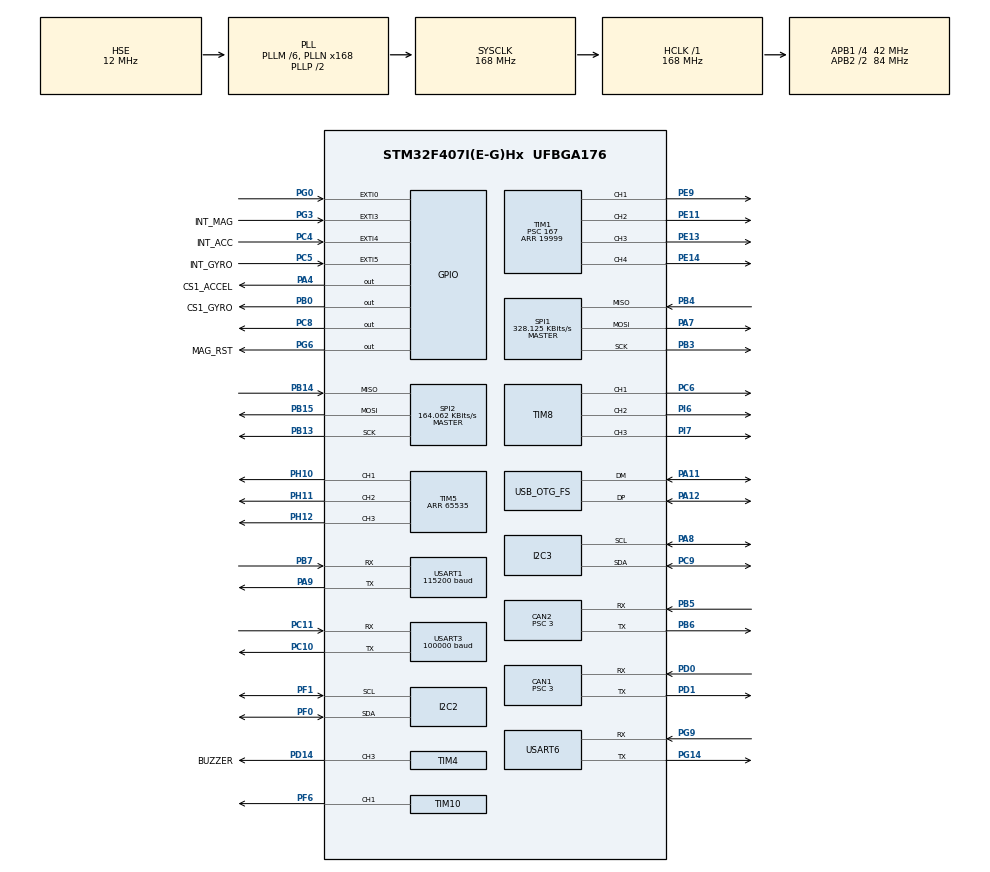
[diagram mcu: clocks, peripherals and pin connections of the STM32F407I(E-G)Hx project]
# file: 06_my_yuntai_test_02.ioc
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CAN1.BS1=CAN_BS1_10TQ
CAN1.BS2=CAN_BS2_3TQ
CAN1.CalculateBaudRate=1000000
CAN1.CalculateTimeBit=1000
CAN1.CalculateTimeQuantum=71.42857142857143
CAN1.Prescaler=3
CAN2.BS1=CAN_BS1_10TQ
CAN2.BS2=CAN_BS2_3TQ
CAN2.CalculateBaudRate=1000000
CAN2.CalculateTimeBit=1000
CAN2.CalculateTimeQuantum=71.42857142857143
CAN2.Prescaler=3
Dma.I2C2_RX.0.Direction=DMA_PERIPH_TO_MEMORY
Dma.I2C2_RX.0.FIFOMode=DMA_FIFOMODE_DISABLE
Dma.I2C2_RX.0.Instance=DMA1_Stream2
Dma.I2C2_RX.0.MemDataAlignment=DMA_MDATAALIGN_BYTE
Dma.I2C2_RX.0.MemInc=DMA_MINC_ENABLE
Dma.I2C2_RX.0.Mode=DMA_NORMAL
Dma.I2C2_RX.0.PeriphDataAlignment=DMA_PDATAALIGN_BYTE
Dma.I2C2_RX.0.PeriphInc=DMA_PINC_DISABLE
Dma.I2C2_RX.0.Priority=DMA_PRIORITY_LOW
Dma.I2C2_TX.1.Direction=DMA_MEMORY_TO_PERIPH
Dma.I2C2_TX.1.FIFOMode=DMA_FIFOMODE_DISABLE
Dma.I2C2_TX.1.Instance=DMA1_Stream7
Dma.I2C2_TX.1.MemDataAlignment=DMA_MDATAALIGN_BYTE
Dma.I2C2_TX.1.MemInc=DMA_MINC_ENABLE
Dma.I2C2_TX.1.Mode=DMA_NORMAL
Dma.I2C2_TX.1.PeriphDataAlignment=DMA_PDATAALIGN_BYTE
Dma.I2C2_TX.1.PeriphInc=DMA_PINC_DISABLE
Dma.I2C2_TX.1.Priority=DMA_PRIORITY_LOW
Dma.Request0=I2C2_RX
Dma.Request1=I2C2_TX
Dma.Request10=USART1_RX
Dma.Request2=SPI1_RX
Dma.Request3=SPI1_TX
Dma.Request4=USART3_RX
Dma.Request5=SPI2_RX
Dma.Request6=SPI2_TX
Dma.Request7=USART6_RX
Dma.Request8=USART6_TX
Dma.Request9=USART1_TX
Dma.SPI1_RX.2.Direction=DMA_PERIPH_TO_MEMORY
Dma.SPI1_RX.2.FIFOMode=DMA_FIFOMODE_ENABLE
Dma.SPI1_RX.2.FIFOThreshold=DMA_FIFO_THRESHOLD_FULL
Dma.SPI1_RX.2.Instance=DMA2_Stream0
Dma.SPI1_RX.2.MemBurst=DMA_MBURST_SINGLE
Dma.SPI1_RX.2.MemDataAlignment=DMA_MDATAALIGN_BYTE
Dma.SPI1_RX.2.MemInc=DMA_MINC_ENABLE
Dma.SPI1_RX.2.Mode=DMA_NORMAL
Dma.SPI1_RX.2.PeriphBurst=DMA_PBURST_SINGLE
Dma.SPI1_RX.2.PeriphDataAlignment=DMA_PDATAALIGN_BYTE
Dma.SPI1_RX.2.PeriphInc=DMA_PINC_DISABLE
Dma.SPI1_RX.2.Priority=DMA_PRIORITY_VERY_HIGH
Dma.SPI1_TX.3.Direction=DMA_MEMORY_TO_PERIPH
Dma.SPI1_TX.3.FIFOMode=DMA_FIFOMODE_DISABLE
Dma.SPI1_TX.3.Instance=DMA2_Stream3
Dma.SPI1_TX.3.MemDataAlignment=DMA_MDATAALIGN_BYTE
Dma.SPI1_TX.3.MemInc=DMA_MINC_ENABLE
Dma.SPI1_TX.3.Mode=DMA_NORMAL
Dma.SPI1_TX.3.PeriphDataAlignment=DMA_PDATAALIGN_BYTE
Dma.SPI1_TX.3.PeriphInc=DMA_PINC_DISABLE
Dma.SPI1_TX.3.Priority=DMA_PRIORITY_HIGH
Dma.SPI2_RX.5.Direction=DMA_PERIPH_TO_MEMORY
Dma.SPI2_RX.5.FIFOMode=DMA_FIFOMODE_DISABLE
Dma.SPI2_RX.5.Instance=DMA1_Stream3
Dma.SPI2_RX.5.MemDataAlignment=DMA_MDATAALIGN_BYTE
Dma.SPI2_RX.5.MemInc=DMA_MINC_ENABLE
Dma.SPI2_RX.5.Mode=DMA_NORMAL
Dma.SPI2_RX.5.PeriphDataAlignment=DMA_PDATAALIGN_BYTE
Dma.SPI2_RX.5.PeriphInc=DMA_PINC_DISABLE
Dma.SPI2_RX.5.Priority=DMA_PRIORITY_LOW
Dma.SPI2_TX.6.Direction=DMA_MEMORY_TO_PERIPH
Dma.SPI2_TX.6.FIFOMode=DMA_FIFOMODE_ENABLE
Dma.SPI2_TX.6.FIFOThreshold=DMA_FIFO_THRESHOLD_FULL
Dma.SPI2_TX.6.Instance=DMA1_Stream4
Dma.SPI2_TX.6.MemBurst=DMA_MBURST_SINGLE
Dma.SPI2_TX.6.MemDataAlignment=DMA_MDATAALIGN_BYTE
Dma.SPI2_TX.6.MemInc=DMA_MINC_ENABLE
Dma.SPI2_TX.6.Mode=DMA_NORMAL
Dma.SPI2_TX.6.PeriphBurst=DMA_PBURST_SINGLE
Dma.SPI2_TX.6.PeriphDataAlignment=DMA_PDATAALIGN_BYTE
Dma.SPI2_TX.6.PeriphInc=DMA_PINC_DISABLE
Dma.SPI2_TX.6.Priority=DMA_PRIORITY_LOW
Dma.USART1_RX.10.Direction=DMA_PERIPH_TO_MEMORY
Dma.USART1_RX.10.FIFOMode=DMA_FIFOMODE_DISABLE
Dma.USART1_RX.10.Instance=DMA2_Stream5
Dma.USART1_RX.10.MemDataAlignment=DMA_MDATAALIGN_BYTE
Dma.USART1_RX.10.MemInc=DMA_MINC_ENABLE
Dma.USART1_RX.10.Mode=DMA_NORMAL
Dma.USART1_RX.10.PeriphDataAlignment=DMA_PDATAALIGN_BYTE
Dma.USART1_RX.10.PeriphInc=DMA_PINC_DISABLE
Dma.USART1_RX.10.Priority=DMA_PRIORITY_LOW
Dma.USART1_TX.9.Direction=DMA_MEMORY_TO_PERIPH
Dma.USART1_TX.9.FIFOMode=DMA_FIFOMODE_DISABLE
Dma.USART1_TX.9.Instance=DMA2_Stream7
Dma.USART1_TX.9.MemDataAlignment=DMA_MDATAALIGN_BYTE
Dma.USART1_TX.9.MemInc=DMA_MINC_ENABLE
Dma.USART1_TX.9.Mode=DMA_NORMAL
Dma.USART1_TX.9.PeriphDataAlignment=DMA_PDATAALIGN_BYTE
Dma.USART1_TX.9.PeriphInc=DMA_PINC_DISABLE
Dma.USART1_TX.9.Priority=DMA_PRIORITY_LOW
Dma.USART3_RX.4.Direction=DMA_PERIPH_TO_MEMORY
Dma.USART3_RX.4.FIFOMode=DMA_FIFOMODE_DISABLE
Dma.USART3_RX.4.Instance=DMA1_Stream1
Dma.USART3_RX.4.MemDataAlignment=DMA_MDATAALIGN_BYTE
Dma.USART3_RX.4.MemInc=DMA_MINC_ENABLE
Dma.USART3_RX.4.Mode=DMA_NORMAL
Dma.USART3_RX.4.PeriphDataAlignment=DMA_PDATAALIGN_BYTE
Dma.USART3_RX.4.PeriphInc=DMA_PINC_DISABLE
Dma.USART3_RX.4.Priority=DMA_PRIORITY_LOW
Dma.USART6_RX.7.Direction=DMA_PERIPH_TO_MEMORY
Dma.USART6_RX.7.FIFOMode=DMA_FIFOMODE_DISABLE
Dma.USART6_RX.7.Instance=DMA2_Stream2
Dma.USART6_RX.7.MemDataAlignment=DMA_MDATAALIGN_BYTE
Dma.USART6_RX.7.MemInc=DMA_MINC_ENABLE
Dma.USART6_RX.7.Mode=DMA_NORMAL
Dma.USART6_RX.7.PeriphDataAlignment=DMA_PDATAALIGN_BYTE
Dma.USART6_RX.7.PeriphInc=DMA_PINC_DISABLE
Dma.USART6_RX.7.Priority=DMA_PRIORITY_HIGH
Dma.USART6_TX.8.Direction=DMA_MEMORY_TO_PERIPH
Dma.USART6_TX.8.FIFOMode=DMA_FIFOMODE_DISABLE
Dma.USART6_TX.8.Instance=DMA2_Stream6
Dma.USART6_TX.8.MemDataAlignment=DMA_MDATAALIGN_BYTE
Dma.USART6_TX.8.MemInc=DMA_MINC_ENABLE
Dma.USART6_TX.8.Mode=DMA_NORMAL
Dma.USART6_TX.8.PeriphDataAlignment=DMA_PDATAALIGN_BYTE
Dma.USART6_TX.8.PeriphInc=DMA_PINC_DISABLE
Dma.USART6_TX.8.Priority=DMA_PRIORITY_HIGH
FREERTOS.INCLUDE_eTaskGetState=1
FREERTOS.INCLUDE_pcTaskGetTaskName=1
FREERTOS.INCLUDE_uxTaskGetStackHighWaterMark=1
FREERTOS.INCLUDE_uxTaskGetStackHighWaterMark2=1
FREERTOS.INCLUDE_vTaskCleanUpResources=1
FREERTOS.INCLUDE_vTaskDelayUntil=1
FREERTOS.INCLUDE_xQueueGetMutexHolder=1
FREERTOS.INCLUDE_xSemaphoreGetMutexHolder=1
FREERTOS.INCLUDE_xTaskAbortDelay=1
FREERTOS.INCLUDE_xTaskGetCurrentTaskHandle=1
FREERTOS.INCLUDE_xTaskGetHandle=1
FREERTOS.Tasks01=defaultTask,0,128,StartDefaultTask,Default,NULL,Dynamic,NULL,NULL;MOTORTASK,0,256,StartMOTORTASK,Default,NULL,Dynamic,NULL,NULL;DAEMONTASK,0,521,StartDAEMONTASK,Default,NULL,Dynamic,NULL,NULL;ROBOTTASK,0,1024,StartROBOTTASK,Default,NULL,Dynamic,NULL,NULL;INS_TASK,0,1024,ins_task,Default,NULL,Dynamic,NULL,NULL;StartUI_TASK,0,512,StartUITASK,Default,NULL,Dynamic,NULL,NULL
I2C2.I2C_Mode=I2C_Fast
I2C3.I2C_Mode=I2C_Fast
Mcu.Family=STM32F4
Mcu.Name=STM32F407I(E-G)Hx
Mcu.Package=UFBGA176
NVIC.CAN1_RX0_IRQn=true\:5\:0\:false\:false\:true\:true\:true\:true\:true
NVIC.CAN1_RX1_IRQn=true\:5\:0\:false\:false\:true\:true\:true\:true\:true
NVIC.CAN2_RX0_IRQn=true\:5\:0\:false\:false\:true\:true\:true\:true\:true
NVIC.CAN2_RX1_IRQn=true\:5\:0\:false\:false\:true\:true\:true\:true\:true
NVIC.DMA1_Stream1_IRQn=true\:5\:0\:false\:false\:true\:true\:false\:true\:true
NVIC.DMA1_Stream2_IRQn=true\:5\:0\:false\:false\:true\:true\:false\:true\:true
NVIC.DMA1_Stream3_IRQn=true\:5\:0\:false\:false\:true\:true\:false\:true\:true
NVIC.DMA1_Stream4_IRQn=true\:5\:0\:false\:false\:true\:true\:false\:true\:true
NVIC.DMA1_Stream7_IRQn=true\:5\:0\:false\:false\:true\:true\:false\:true\:true
NVIC.DMA2_Stream0_IRQn=true\:5\:0\:false\:false\:true\:true\:false\:true\:true
NVIC.DMA2_Stream2_IRQn=true\:5\:0\:false\:false\:true\:true\:false\:true\:true
NVIC.DMA2_Stream3_IRQn=true\:5\:0\:false\:false\:true\:true\:false\:true\:true
NVIC.DMA2_Stream5_IRQn=true\:5\:0\:false\:false\:true\:true\:false\:true\:true
NVIC.DMA2_Stream6_IRQn=true\:5\:0\:false\:false\:true\:true\:false\:true\:true
NVIC.DMA2_Stream7_IRQn=true\:5\:0\:false\:false\:true\:true\:false\:true\:true
NVIC.EXTI0_IRQn=true\:5\:0\:false\:false\:true\:true\:true\:true\:true
NVIC.EXTI3_IRQn=true\:5\:0\:false\:false\:true\:true\:true\:true\:true
NVIC.EXTI4_IRQn=true\:5\:0\:false\:false\:true\:true\:true\:true\:true
NVIC.EXTI9_5_IRQn=true\:5\:0\:false\:false\:true\:true\:true\:true\:true
NVIC.I2C2_ER_IRQn=true\:5\:0\:false\:false\:true\:true\:true\:true\:true
NVIC.I2C2_EV_IRQn=true\:5\:0\:false\:false\:true\:true\:true\:true\:true
NVIC.I2C3_ER_IRQn=true\:5\:0\:false\:false\:true\:true\:true\:true\:true
NVIC.I2C3_EV_IRQn=true\:5\:0\:false\:false\:true\:true\:true\:true\:true
NVIC.OTG_FS_IRQn=true\:5\:0\:false\:false\:true\:true\:true\:true\:true
NVIC.PriorityGroup=NVIC_PRIORITYGROUP_4
NVIC.SPI2_IRQn=true\:5\:0\:false\:false\:true\:true\:true\:true\:true
NVIC.TIM8_TRG_COM_TIM14_IRQn=true\:15\:0\:false\:false\:true\:false\:false\:true\:true
NVIC.TimeBase=TIM8_TRG_COM_TIM14_IRQn
NVIC.TimeBaseIP=TIM14
NVIC.USART1_IRQn=true\:5\:0\:false\:false\:true\:true\:true\:true\:true
NVIC.USART3_IRQn=true\:5\:0\:false\:false\:true\:true\:true\:true\:true
NVIC.USART6_IRQn=true\:5\:0\:false\:false\:true\:true\:true\:true\:true
PA11.Mode=Device_Only
PA11.Signal=USB_OTG_FS_DM
PA12.Mode=Device_Only
PA12.Signal=USB_OTG_FS_DP
PA13.Mode=Serial_Wire
PA13.Signal=SYS_JTMS-SWDIO
PA14.Mode=Serial_Wire
PA14.Signal=SYS_JTCK-SWCLK
PA4.GPIO_Label=CS1_ACCEL
PA4.GPIO_PuPd=GPIO_PULLUP
PA4.GPIO_Speed=GPIO_SPEED_FREQ_HIGH
PA4.PinState=GPIO_PIN_SET
PA4.Signal=GPIO_Output
PA7.GPIO_PuPd=GPIO_PULLUP
PA7.Mode=Full_Duplex_Master
PA7.Signal=SPI1_MOSI
PA8.Mode=I2C
PA8.Signal=I2C3_SCL
PA9.Mode=Asynchronous
PA9.Signal=USART1_TX
PB0.GPIO_Label=CS1_GYRO
PB0.GPIO_PuPd=GPIO_PULLUP
PB0.GPIO_Speed=GPIO_SPEED_FREQ_HIGH
PB0.PinState=GPIO_PIN_SET
PB0.Signal=GPIO_Output
PB13.Mode=Full_Duplex_Master
PB13.Signal=SPI2_SCK
PB14.Mode=Full_Duplex_Master
PB14.Signal=SPI2_MISO
PB15.Mode=Full_Duplex_Master
PB15.Signal=SPI2_MOSI
PB3.GPIO_PuPd=GPIO_PULLUP
PB3.Mode=Full_Duplex_Master
PB3.Signal=SPI1_SCK
PB4.GPIO_PuPd=GPIO_PULLUP
PB4.Mode=Full_Duplex_Master
PB4.Signal=SPI1_MISO
PB5.Mode=CAN_Activate
PB5.Signal=CAN2_RX
PB6.Mode=CAN_Activate
PB6.Signal=CAN2_TX
PB7.Mode=Asynchronous
PB7.Signal=USART1_RX
PC10.Mode=Asynchronous
PC10.Signal=USART3_TX
PC11.Mode=Asynchronous
PC11.Signal=USART3_RX
PC14-OSC32_IN.Mode=LSE-External-Oscillator
PC14-OSC32_IN.Signal=RCC_OSC32_IN
PC15-OSC32_OUT.Mode=LSE-External-Oscillator
PC15-OSC32_OUT.Signal=RCC_OSC32_OUT
PC4.GPIO_Label=INT_ACC
PC4.GPIO_ModeDefaultEXTI=GPIO_MODE_IT_FALLING
PC4.GPIO_PuPd=GPIO_PULLUP
PC4.Signal=GPXTI4
PC5.GPIO_Label=INT_GYRO
PC5.GPIO_ModeDefaultEXTI=GPIO_MODE_IT_FALLING
PC5.GPIO_PuPd=GPIO_PULLUP
PC5.Signal=GPXTI5
PC6.Signal=S_TIM8_CH1
PC8.GPIO_Speed=GPIO_SPEED_FREQ_VERY_HIGH
PC8.PinState=GPIO_PIN_SET
PC8.Signal=GPIO_Output
PC9.Mode=I2C
PC9.Signal=I2C3_SDA
PD0.Mode=CAN_Activate
PD0.Signal=CAN1_RX
PD1.Mode=CAN_Activate
PD1.Signal=CAN1_TX
PD14.GPIO_Label=BUZZER
PD14.GPIO_PuPd=GPIO_PULLUP
PD14.GPIO_Speed=GPIO_SPEED_FREQ_VERY_HIGH
PD14.Signal=S_TIM4_CH3
PE11.Signal=S_TIM1_CH2
PE13.Signal=S_TIM1_CH3
PE14.Signal=S_TIM1_CH4
PE9.Signal=S_TIM1_CH1
PF0.Mode=I2C
PF0.Signal=I2C2_SDA
PF1.Mode=I2C
PF1.Signal=I2C2_SCL
PF6.Signal=S_TIM10_CH1
PG0.GPIO_ModeDefaultEXTI=GPIO_MODE_IT_FALLING
PG0.GPIO_PuPd=GPIO_PULLUP
PG0.Signal=GPXTI0
PG14.Mode=Asynchronous
PG14.Signal=USART6_TX
PG3.GPIO_Label=INT_MAG
PG3.GPIO_ModeDefaultEXTI=GPIO_MODE_IT_FALLING
PG3.GPIO_PuPd=GPIO_PULLUP
PG3.Signal=GPXTI3
PG6.GPIO_Label=MAG_RST
PG6.GPIO_PuPd=GPIO_PULLUP
PG6.GPIO_Speed=GPIO_SPEED_FREQ_MEDIUM
PG6.PinState=GPIO_PIN_SET
PG6.Signal=GPIO_Output
PG9.Mode=Asynchronous
PG9.Signal=USART6_RX
PH0-OSC_IN.Mode=HSE-External-Oscillator
PH0-OSC_IN.Signal=RCC_OSC_IN
PH1-OSC_OUT.Mode=HSE-External-Oscillator
PH1-OSC_OUT.Signal=RCC_OSC_OUT
PH10.Signal=S_TIM5_CH1
PH11.Signal=S_TIM5_CH2
PH12.Signal=S_TIM5_CH3
PI6.Signal=S_TIM8_CH2
PI7.Signal=S_TIM8_CH3
ProjectManager.HeapSize=0x6000
ProjectManager.StackSize=0x6000
ProjectManager.TargetToolchain=MDK-ARM V5.32
RCC.48MHZClocksFreq_Value=48000000
RCC.AHBFreq_Value=168000000
RCC.APB1CLKDivider=RCC_HCLK_DIV4
RCC.APB1Freq_Value=42000000
RCC.APB1TimFreq_Value=84000000
RCC.APB2CLKDivider=RCC_HCLK_DIV2
RCC.APB2Freq_Value=84000000
RCC.APB2TimFreq_Value=168000000
RCC.CortexFreq_Value=168000000
RCC.HCLKFreq_Value=168000000
RCC.HSE_VALUE=12000000
RCC.HSI_VALUE=16000000
RCC.PLLM=6
RCC.PLLN=168
RCC.PLLQ=7
RCC.SYSCLKFreq_VALUE=168000000
RCC.SYSCLKSource=RCC_SYSCLKSOURCE_PLLCLK
RCC.VCOOutputFreq_Value=336000000
RTC.AsynchPrediv=124
RTC.SynchPrediv=3199
SH.S_TIM10_CH1.0=TIM10_CH1,PWM Generation1 CH1
SH.S_TIM1_CH1.0=TIM1_CH1,PWM Generation1 CH1
SH.S_TIM1_CH2.0=TIM1_CH2,PWM Generation2 CH2
SH.S_TIM1_CH3.0=TIM1_CH3,PWM Generation3 CH3
SH.S_TIM1_CH4.0=TIM1_CH4,PWM Generation4 CH4
SH.S_TIM4_CH3.0=TIM4_CH3,PWM Generation3 CH3
SH.S_TIM5_CH1.0=TIM5_CH1,PWM Generation1 CH1
SH.S_TIM5_CH2.0=TIM5_CH2,PWM Generation2 CH2
SH.S_TIM5_CH3.0=TIM5_CH3,PWM Generation3 CH3
SH.S_TIM8_CH1.0=TIM8_CH1,Output Compare1 CH1
SH.S_TIM8_CH2.0=TIM8_CH2,Output Compare2 CH2
SH.S_TIM8_CH3.0=TIM8_CH3,Output Compare3 CH3
SPI1.BaudRatePrescaler=SPI_BAUDRATEPRESCALER_256
SPI1.CLKPhase=SPI_PHASE_2EDGE
SPI1.CLKPolarity=SPI_POLARITY_HIGH
SPI1.CalculateBaudRate=328.125 KBits/s
SPI1.Direction=SPI_DIRECTION_2LINES
SPI1.Mode=SPI_MODE_MASTER
SPI1.VirtualType=VM_MASTER
SPI2.BaudRatePrescaler=SPI_BAUDRATEPRESCALER_256
SPI2.CLKPhase=SPI_PHASE_2EDGE
SPI2.CLKPolarity=SPI_POLARITY_HIGH
SPI2.CalculateBaudRate=164.062 KBits/s
SPI2.Direction=SPI_DIRECTION_2LINES
SPI2.Mode=SPI_MODE_MASTER
SPI2.VirtualType=VM_MASTER
TIM1.Channel-PWM\ Generation1\ CH1=TIM_CHANNEL_1
TIM1.Channel-PWM\ Generation2\ CH2=TIM_CHANNEL_2
TIM1.Channel-PWM\ Generation3\ CH3=TIM_CHANNEL_3
TIM1.Channel-PWM\ Generation4\ CH4=TIM_CHANNEL_4
TIM1.Period=19999
TIM1.Prescaler=167
TIM10.Channel=TIM_CHANNEL_1
TIM10.Period=4999
TIM10.Prescaler=167
TIM4.Channel-PWM\ Generation3\ CH3=TIM_CHANNEL_3
TIM4.Prescaler=167
TIM5.Channel-PWM\ Generation1\ CH1=TIM_CHANNEL_1
TIM5.Channel-PWM\ Generation2\ CH2=TIM_CHANNEL_2
TIM5.Channel-PWM\ Generation3\ CH3=TIM_CHANNEL_3
TIM5.Period=65535
TIM8.Channel-Output\ Compare1\ CH1=TIM_CHANNEL_1
TIM8.Channel-Output\ Compare2\ CH2=TIM_CHANNEL_2
TIM8.Channel-Output\ Compare3\ CH3=TIM_CHANNEL_3
USART1.BaudRate=115200
USART1.VirtualMode=VM_ASYNC
USART3.BaudRate=100000
USART3.VirtualMode=VM_ASYNC
USART3.WordLength=WORDLENGTH_9B
USART6.VirtualMode=VM_ASYNC
USB_DEVICE.CLASS_NAME_FS=CDC
USB_DEVICE.VirtualMode-CDC_FS=Cdc
USB_DEVICE.VirtualModeFS=Cdc_FS
USB_OTG_FS.VirtualMode=Device_Only
VP_CRC_VS_CRC.Mode=CRC_Activate
VP_FREERTOS_VS_CMSIS_V1.Mode=CMSIS_V1
VP_RNG_VS_RNG.Mode=RNG_Activate
VP_RTC_VS_RTC_Activate.Mode=RTC_Enabled
VP_SYS_VS_tim14.Mode=TIM14
VP_TIM10_VS_ClockSourceINT.Mode=Enable_Timer
VP_TIM1_VS_ClockSourceINT.Mode=Internal
VP_TIM4_VS_ClockSourceINT.Mode=Internal
VP_TIM5_VS_ClockSourceINT.Mode=Internal
VP_TIM8_VS_ClockSourceINT.Mode=Internal
VP_USB_DEVICE_VS_USB_DEVICE_CDC_FS.Mode=CDC_FS
board=custom

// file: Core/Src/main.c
/* USER CODE BEGIN Header */
/**
  ******************************************************************************
  * @file           : main.c
  * @brief          : Main program body
  ******************************************************************************
  * @attention
  *
  * Copyright (c) 2025 STMicroelectronics.
  * All rights reserved.
  *
  * This software is licensed under terms that can be found in the LICENSE file
  * in the root directory of this software component.
  * If no LICENSE file comes with this software, it is provided AS-IS.
  *
  ******************************************************************************
  */
/* USER CODE END Header */
#include "main.h"
#include "cmsis_os.h"
#include "can.h"
#include "crc.h"
#include "dma.h"
#include "i2c.h"
#include "rng.h"
#include "rtc.h"
#include "spi.h"
#include "tim.h"
#include "usart.h"
#include "usb_device.h"
#include "gpio.h"

/* USER CODE BEGIN Includes */
#include "robot.h"
/* USER CODE END Includes */

void SystemClock_Config(void);
void MX_FREERTOS_Init(void);

int main(void)
{

  /* MCU Configuration--------------------------------------------------------*/

  /* Reset of all peripherals, Initializes the Flash interface and the Systick. */
  HAL_Init();

  /* Configure the system clock */
  SystemClock_Config();

  /* Initialize all configured peripherals */
  MX_GPIO_Init();
  MX_DMA_Init();
  MX_CAN1_Init();
  MX_RTC_Init();
  MX_TIM1_Init();
  MX_TIM4_Init();
  MX_TIM5_Init();
  MX_TIM8_Init();
  MX_TIM10_Init();
  MX_CAN2_Init();
  MX_I2C2_Init();
  MX_I2C3_Init();
  MX_SPI1_Init();
  MX_SPI2_Init();
  MX_USART1_UART_Init();
  MX_USART3_UART_Init();
  MX_CRC_Init();
  MX_RNG_Init();
  MX_USART6_UART_Init();
  /* USER CODE BEGIN 2 */
      __disable_irq();
      robot_init();
      __enable_irq();

  /* USER CODE END 2 */

  /* Call init function for freertos objects (in cmsis_os2.c) */
  MX_FREERTOS_Init();

  /* Start scheduler */
  osKernelStart();

  /* We should never get here as control is now taken by the scheduler */

  /* Infinite loop */
  while (1)
  {

  }
}

void SystemClock_Config(void)
{
  RCC_OscInitTypeDef RCC_OscInitStruct = {0};
  RCC_ClkInitTypeDef RCC_ClkInitStruct = {0};

  /** Configure the main internal regulator output voltage
  */
  __HAL_RCC_PWR_CLK_ENABLE();
  __HAL_PWR_VOLTAGESCALING_CONFIG(PWR_REGULATOR_VOLTAGE_SCALE1);

  /** Initializes the RCC Oscillators according to the specified parameters
  * in the RCC_OscInitTypeDef structure.
  */
  RCC_OscInitStruct.OscillatorType = RCC_OSCILLATORTYPE_LSI|RCC_OSCILLATORTYPE_HSE;
  RCC_OscInitStruct.HSEState = RCC_HSE_ON;
  RCC_OscInitStruct.LSIState = RCC_LSI_ON;
  RCC_OscInitStruct.PLL.PLLState = RCC_PLL_ON;
  RCC_OscInitStruct.PLL.PLLSource = RCC_PLLSOURCE_HSE;
  RCC_OscInitStruct.PLL.PLLM = 6;
  RCC_OscInitStruct.PLL.PLLN = 168;
  RCC_OscInitStruct.PLL.PLLP = RCC_PLLP_DIV2;
  RCC_OscInitStruct.PLL.PLLQ = 7;
  if (HAL_RCC_OscConfig(&RCC_OscInitStruct) != HAL_OK)
  {
    Error_Handler();
  }

  /** Initializes the CPU, AHB and APB buses clocks
  */
  RCC_ClkInitStruct.ClockType = RCC_CLOCKTYPE_HCLK|RCC_CLOCKTYPE_SYSCLK
                              |RCC_CLOCKTYPE_PCLK1|RCC_CLOCKTYPE_PCLK2;
  RCC_ClkInitStruct.SYSCLKSource = RCC_SYSCLKSOURCE_PLLCLK;
  RCC_ClkInitStruct.AHBCLKDivider = RCC_SYSCLK_DIV1;
  RCC_ClkInitStruct.APB1CLKDivider = RCC_HCLK_DIV4;
  RCC_ClkInitStruct.APB2CLKDivider = RCC_HCLK_DIV2;

  if (HAL_RCC_ClockConfig(&RCC_ClkInitStruct, FLASH_LATENCY_5) != HAL_OK)
  {
    Error_Handler();
  }
}

void HAL_TIM_PeriodElapsedCallback(TIM_HandleTypeDef *htim)
{
  if (htim->Instance == TIM14)
  {
    HAL_IncTick();
  }
}

void Error_Handler(void)
{
  __disable_irq();
  while (1)
  {
  }
}

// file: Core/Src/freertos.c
/* USER CODE BEGIN Header */
/**
  ******************************************************************************
  * File Name          : freertos.c
  * Description        : Code for freertos applications
  ******************************************************************************
  * @attention
  *
  * Copyright (c) 2025 STMicroelectronics.
  * All rights reserved.
  *
  * This software is licensed under terms that can be found in the LICENSE file
  * in the root directory of this software component.
  * If no LICENSE file comes with this software, it is provided AS-IS.
  *
  ******************************************************************************
  */
/* USER CODE END Header */

#include "FreeRTOS.h"
#include "task.h"
#include "main.h"
#include "cmsis_os.h"

/* USER CODE BEGIN Includes */
#include "dji_motor.h"
#include "daemon.h"
#include "robot.h"
#include "chassis.h"
#include "robot_cmd.h"
#include "gimbal.h"
#include "shoot.h"
#include "ins_task.h"
#include "referee_task.h"
#include "buzzer.h"
#include "power_control.h"
/* USER CODE END Includes */

osThreadId defaultTaskHandle;
osThreadId MOTORTASKHandle;
osThreadId DAEMONTASKHandle;
osThreadId ROBOTTASKHandle;
osThreadId INS_TASKHandle;
osThreadId StartUI_TASKHandle;

void StartDefaultTask(void const * argument);
void StartMOTORTASK(void const * argument);
void StartDAEMONTASK(void const * argument);
void StartROBOTTASK(void const * argument);
void ins_task(void const * argument);
void StartUITASK(void const * argument);

extern void MX_USB_DEVICE_Init(void);
void MX_FREERTOS_Init(void); /* (MISRA C 2004 rule 8.1) */

/* GetIdleTaskMemory prototype (linked to static allocation support) */
void vApplicationGetIdleTaskMemory( StaticTask_t **ppxIdleTaskTCBBuffer, StackType_t **ppxIdleTaskStackBuffer, uint32_t *pulIdleTaskStackSize );

/* USER CODE BEGIN GET_IDLE_TASK_MEMORY */
static StaticTask_t xIdleTaskTCBBuffer;
static StackType_t xIdleStack[configMINIMAL_STACK_SIZE];

void vApplicationGetIdleTaskMemory( StaticTask_t **ppxIdleTaskTCBBuffer, StackType_t **ppxIdleTaskStackBuffer, uint32_t *pulIdleTaskStackSize )
{
  *ppxIdleTaskTCBBuffer = &xIdleTaskTCBBuffer;
  *ppxIdleTaskStackBuffer = &xIdleStack[0];
  *pulIdleTaskStackSize = configMINIMAL_STACK_SIZE;
  /* place for user code */
}
/* USER CODE END GET_IDLE_TASK_MEMORY */

void MX_FREERTOS_Init(void) {

  /* Create the thread(s) */
  /* definition and creation of defaultTask */
  osThreadDef(defaultTask, StartDefaultTask, osPriorityNormal, 0, 128);
  defaultTaskHandle = osThreadCreate(osThread(defaultTask), NULL);

  /* definition and creation of MOTORTASK */
  osThreadDef(MOTORTASK, StartMOTORTASK, osPriorityNormal, 0, 256);
  MOTORTASKHandle = osThreadCreate(osThread(MOTORTASK), NULL);

  /* definition and creation of DAEMONTASK */
  osThreadDef(DAEMONTASK, StartDAEMONTASK, osPriorityNormal, 0, 521);
  DAEMONTASKHandle = osThreadCreate(osThread(DAEMONTASK), NULL);

  /* definition and creation of ROBOTTASK */
  osThreadDef(ROBOTTASK, StartROBOTTASK, osPriorityNormal, 0, 1024);
  ROBOTTASKHandle = osThreadCreate(osThread(ROBOTTASK), NULL);

  /* definition and creation of INS_TASK */
  osThreadDef(INS_TASK, ins_task, osPriorityNormal, 0, 1024);
  INS_TASKHandle = osThreadCreate(osThread(INS_TASK), NULL);

  /* definition and creation of StartUI_TASK */
  osThreadDef(StartUI_TASK, StartUITASK, osPriorityNormal, 0, 512);
  StartUI_TASKHandle = osThreadCreate(osThread(StartUI_TASK), NULL);

}

void StartDefaultTask(void const * argument)
{
  /* init code for USB_DEVICE */
  MX_USB_DEVICE_Init();
  for(;;)
  {
    osDelay(1);
  }
}

void StartMOTORTASK(void const * argument)
{
  /* USER CODE BEGIN StartMOTORTASK */
  /* Infinite loop */
  while(1)
  {
	  DJIMotorControl();
    PowerControl();
	  osDelay(1);
  }

  /* USER CODE END StartMOTORTASK */
}

void StartDAEMONTASK(void const * argument)
{
  /* USER CODE BEGIN StartDAEMONTASK */
  /* Infinite loop */
 while (1)
 {
  DaemonTask();
  osDelay(10);
 }

  /* USER CODE END StartDAEMONTASK */
}

void StartROBOTTASK(void const * argument)
{
  /* USER CODE BEGIN StartROBOTTASK */
  /* Infinite loop */
while (1)
{
//    BuzzerTask();
    RobotCMDTask();
    ChassisTask();
    GimbalTask();
    ShootTask();
  	osDelay(5);
}

  /* USER CODE END StartROBOTTASK */
}

void ins_task(void const * argument)
{
  /* USER CODE BEGIN ins_task */
  /* Infinite loop */
  while (1)
  {
    // 1kHz
    INS_Task();
 //  VisionSend(); // ������ɺ����Ӿ�����
    osDelay(1);
  }
  /* USER CODE END ins_task */
}

void StartUITASK(void const * argument)
{
  /* USER CODE BEGIN StartUITASK */
  /* Infinite loop */
  while (1)
  {
    My_UI_init();
    Referee_Interactive_task();
  }
  /* USER CODE END StartUITASK */
}
